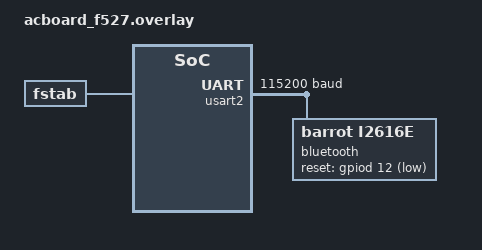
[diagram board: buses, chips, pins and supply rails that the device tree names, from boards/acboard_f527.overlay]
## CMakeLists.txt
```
# SPDX-License-Identifier: Apache-2.0

cmake_minimum_required(VERSION 3.20.0)

find_package(Zephyr REQUIRED HINTS $ENV{ZEPHYR_BASE})
project(acboard_bt_manager)

target_sources(app PRIVATE src/main.c src/bt_manager.c src/bt_app.c)
```

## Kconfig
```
# Copyright (c) 2026
# SPDX-License-Identifier: Apache-2.0

mainmenu "ACBoard Bluetooth manager"

source "Kconfig.zephyr"
```

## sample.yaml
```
sample:
  name: ACBoard Bluetooth manager
common:
  platform_allow:
    - acboard_f527
  tags:
    - bluetooth
    - settings
tests:
  sample.boards.acboard.bt_manager:
    build_only: true
```

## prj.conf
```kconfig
# i2616e BLE driver (pulls in the modem UART backend).
CONFIG_SERIAL=y
CONFIG_UART_ASYNC_API=y
CONFIG_GPIO=y
CONFIG_I2616E=y

# Paired-device persistence: Settings over LittleFS on Bank1.
CONFIG_FLASH=y
CONFIG_FLASH_MAP=y
CONFIG_FILE_SYSTEM=y
CONFIG_FILE_SYSTEM_LITTLEFS=y
CONFIG_FS_LITTLEFS_FSTAB_AUTOMOUNT=y
CONFIG_FS_LITTLEFS_CACHE_SIZE=4096
CONFIG_SETTINGS=y
CONFIG_SETTINGS_FILE=y
CONFIG_SETTINGS_FILE_PATH="/lfs/settings"

CONFIG_PRINTK=y
CONFIG_LOG=y
CONFIG_MAIN_STACK_SIZE=4096
```

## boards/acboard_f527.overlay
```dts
#include <zephyr/dt-bindings/gpio/gpio.h>
#include <zephyr/dt-bindings/dma/gd32_dma.h>

/ {
	fstab {
		compatible = "zephyr,fstab";

		lfs_storage: lfs_storage {
			compatible = "zephyr,fstab,littlefs";
			mount-point = "/lfs";
			partition = <&storage_partition>;
			automount;
			read-size = <256>;
			prog-size = <256>;
			cache-size = <4096>;
			lookahead-size = <256>;
			block-cycles = <512>;
		};
	};
};

&usart2 {
	status = "okay";
	current-speed = <115200>;
	pinctrl-0 = <&usart2_default>;
	pinctrl-names = "default";
	dmas = <&dma0 1 4 GD32_DMA_PRIORITY_HIGH 3>,
	       <&dma0 3 4 GD32_DMA_PRIORITY_HIGH 3>;
	dma-names = "rx", "tx";

	bluetooth: i2616e {
		compatible = "barrot,i2616e";
		reset-gpios = <&gpiod 12 GPIO_ACTIVE_LOW>;
	};
};

/* Bank1 (2MB) holds the LittleFS that backs the Settings device table. */
&flash0 {
	partitions {
		compatible = "fixed-partitions";
		#address-cells = <1>;
		#size-cells = <1>;

		storage_partition: partition@200000 {
			label = "storage";
			reg = <0x00200000 DT_SIZE_M(2)>;
		};
	};
};
```

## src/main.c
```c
/*
 * Copyright (c) 2026
 * SPDX-License-Identifier: Apache-2.0
 *
 * Application-layer demo over the Bluetooth manager port. It handles the
 * wallbox APP PDU protocol while the i2616e CID strings and paired-device
 * persistence stay hidden inside bt_manager.
 */

#include "bt_app.h"
#include "bt_manager.h"

#include <zephyr/device.h>
#include <zephyr/devicetree.h>
#include <zephyr/kernel.h>
#include <zephyr/sys/printk.h>

static const struct device *const bluetooth = DEVICE_DT_GET(DT_NODELABEL(bluetooth));

static void on_event(const struct bt_mgr_event *event, void *user_data)
{
	ARG_UNUSED(user_data);
	bt_app_on_event(event);
}

int main(void)
{
	int ret;

	printk("\nACBoard Bluetooth APP protocol\n");

	ret = bt_manager_init(bluetooth, on_event, NULL);
	if (ret < 0) {
		printk("bt_manager_init failed: %d\n", ret);
		return 0;
	}

	printk("bluetooth ready, %zu paired device(s)\n", bt_manager_device_count());
	return 0;
}
```

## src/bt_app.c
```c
/*
 * Copyright (c) 2026
 * SPDX-License-Identifier: Apache-2.0
 */

#include "bt_app.h"

#include <errno.h>
#include <stdbool.h>
#include <stddef.h>
#include <stdint.h>
#include <string.h>

#include <zephyr/logging/log.h>
#include <zephyr/sys/util.h>

LOG_MODULE_REGISTER(bt_app, LOG_LEVEL_INF);

#define BT_APP_START_FIELD      0xffU
#define BT_APP_NODE             0x10U
#define BT_WALLBOX_NODE         0x11U
#define BT_APP_HEADER_SIZE      4U
#define BT_APP_CHECKSUM_SIZE    1U
#define BT_APP_MAC_SIZE         6U
/* Large enough for the worst-case paired-device list response:
 * BT_MGR_MAX_DEVICES * (MAC + name-length byte + maximum name).
 */
#define BT_APP_MAX_PAYLOAD      (BT_MGR_MAX_DEVICES * (BT_APP_MAC_SIZE + 1U + BT_MGR_NAME_MAX))
#define BT_APP_MAX_FRAME        (BT_APP_HEADER_SIZE + BT_APP_MAX_PAYLOAD + BT_APP_CHECKSUM_SIZE)
#define BT_APP_AUTH_TOKEN_MIN   1U
#define BT_APP_AUTH_TOKEN_MAX   20U

#define BT_APP_CMD_AUTH_CHECK              0x02U
#define BT_APP_CMD_QUERY_PILE_STATUS       0x03U
#define BT_APP_CMD_CHARGE_CONTROL          0x04U
#define BT_APP_CMD_QUERY_PAIRED_DEVICES    0x05U
#define BT_APP_CMD_REPORT_APP_DEVICE_INFO  0x06U
#define BT_APP_CMD_DELETE_PAIRED_DEVICE    0x07U
#define BT_APP_CMD_DELETE_CURRENT_DEVICE   0x08U
#define BT_APP_CMD_PLUG_AND_CHARGE_CONTROL 0x09U

#define BT_APP_AUTH_PASSED          1U
#define BT_APP_AUTH_FAILED          2U
#define BT_APP_AUTH_DEVICE_LIMIT    4U

#define BT_APP_RESULT_UNDEFINED 0U
#define BT_APP_RESULT_SUCCESS   1U
#define BT_APP_RESULT_FAILED    2U

#define BT_APP_STATUS_IDLE                  1U
#define BT_APP_STATUS_CHARGING              2U
#define BT_APP_STATUS_CHARGE_FINISHED       3U
#define BT_APP_STATUS_PLUGGED_UNAUTHORIZED  4U

#define BT_APP_CHARGE_START 1U
#define BT_APP_CHARGE_STOP  2U

#define BT_APP_PNC_ENABLE  1U
#define BT_APP_PNC_DISABLE 2U
#define BT_APP_PNC_QUERY   3U

struct app_frame {
	uint8_t source;
	uint8_t command;
	const uint8_t *payload;
	size_t payload_len;
};

struct app_session {
	bool connected;
	bool authenticated;
	char address[BT_MGR_ADDR_TEXT + 1U];
};

static struct app_session sessions[BT_MGR_MAX_CHANNELS];
static uint8_t simulated_pile_status = BT_APP_STATUS_IDLE;

static uint8_t checksum(const uint8_t *data, size_t len)
{
	uint8_t sum = 0U;

	for (size_t i = 0; i < len; i++) {
		sum = (uint8_t)(sum + data[i]);
	}
	return sum;
}

static char lower_hex(char ch)
{
	if (ch >= 'A' && ch <= 'F') {
		return ch + ('a' - 'A');
	}
	return ch;
}

static bool address_equal(const char *a, const char *b)
{
	for (size_t i = 0; i < BT_MGR_ADDR_TEXT; i++) {
		if (lower_hex(a[i]) != lower_hex(b[i])) {
			return false;
		}
	}
	return true;
}

static int hex_nibble(uint8_t ch)
{
	if (ch >= '0' && ch <= '9') {
		return ch - '0';
	}
	if (ch >= 'A' && ch <= 'F') {
		return ch - 'A' + 10;
	}
	if (ch >= 'a' && ch <= 'f') {
		return ch - 'a' + 10;
	}
	return -EINVAL;
}

static char hex_lower(uint8_t value)
{
	value &= 0x0fU;
	return value < 10U ? (char)('0' + value) : (char)('a' + value - 10U);
}

static bool address_to_mac(const char *address, uint8_t *mac)
{
	for (size_t i = 0; i < BT_APP_MAC_SIZE; i++) {
		int hi = hex_nibble((uint8_t)address[i * 2U]);
		int lo = hex_nibble((uint8_t)address[(i * 2U) + 1U]);

		if (hi < 0 || lo < 0) {
			return false;
		}
		mac[i] = (uint8_t)((hi << 4) | lo);
	}
	return true;
}

static void mac_to_address(const uint8_t *mac, char *address)
{
	for (size_t i = 0; i < BT_APP_MAC_SIZE; i++) {
		address[i * 2U] = hex_lower(mac[i] >> 4);
		address[(i * 2U) + 1U] = hex_lower(mac[i]);
	}
	address[BT_MGR_ADDR_TEXT] = '\0';
}

static struct app_session *session_for(uint8_t channel)
{
	if (channel >= BT_MGR_MAX_CHANNELS) {
		return NULL;
	}
	return &sessions[channel];
}

static void revoke_sessions_by_address(const char *address)
{
	for (uint8_t i = 0; i < BT_MGR_MAX_CHANNELS; i++) {
		if (sessions[i].connected && sessions[i].authenticated &&
		    address_equal(sessions[i].address, address)) {
			sessions[i].authenticated = false;
			memset(sessions[i].address, 0, sizeof(sessions[i].address));
		}
	}
}

static bool find_frame(const uint8_t *data, size_t len, size_t *offset, size_t *frame_len)
{
	for (size_t i = 0; i + BT_APP_HEADER_SIZE + BT_APP_CHECKSUM_SIZE <= len; i++) {
		if (data[i] != BT_APP_START_FIELD) {
			continue;
		}

		size_t payload_len = data[i + 3U];
		size_t total = BT_APP_HEADER_SIZE + payload_len + BT_APP_CHECKSUM_SIZE;

		if (payload_len > BT_APP_MAX_PAYLOAD) {
			continue;
		}
		if (i + total > len) {
			return false;
		}
		if (data[i + total - 1U] != checksum(&data[i], BT_APP_HEADER_SIZE + payload_len)) {
			continue;
		}

		*offset = i;
		*frame_len = total;
		return true;
	}

	return false;
}

static bool decode_frame(const uint8_t *data, size_t len, struct app_frame *frame)
{
	if (data == NULL || frame == NULL || len < BT_APP_HEADER_SIZE + BT_APP_CHECKSUM_SIZE ||
	    data[0] != BT_APP_START_FIELD) {
		return false;
	}

	size_t payload_len = data[3];
	size_t total = BT_APP_HEADER_SIZE + payload_len + BT_APP_CHECKSUM_SIZE;

	if (payload_len > BT_APP_MAX_PAYLOAD || total > len ||
	    data[total - 1U] != checksum(data, BT_APP_HEADER_SIZE + payload_len)) {
		return false;
	}

	frame->source = data[1];
	frame->command = data[2];
	frame->payload = payload_len > 0U ? &data[BT_APP_HEADER_SIZE] : NULL;
	frame->payload_len = payload_len;
	return true;
}

static int send_response(uint8_t channel, uint8_t command, const uint8_t *payload, size_t payload_len)
{
	uint8_t frame[BT_APP_MAX_FRAME];
	size_t frame_len;

	if (payload_len > BT_APP_MAX_PAYLOAD || (payload == NULL && payload_len > 0U)) {
		return -EINVAL;
	}

	frame[0] = BT_APP_START_FIELD;
	frame[1] = BT_WALLBOX_NODE;
	frame[2] = command;
	frame[3] = (uint8_t)payload_len;
	if (payload_len > 0U) {
		memcpy(&frame[BT_APP_HEADER_SIZE], payload, payload_len);
	}

	frame_len = BT_APP_HEADER_SIZE + payload_len + BT_APP_CHECKSUM_SIZE;
	frame[frame_len - 1U] = checksum(frame, BT_APP_HEADER_SIZE + payload_len);

	return bt_manager_send(channel, frame, frame_len);
}

static void handle_auth_check(uint8_t channel, const struct app_frame *frame)
{
	static const uint8_t serial[12] = "ACBOARD00001";
	uint8_t payload[1U + sizeof(serial)] = { BT_APP_AUTH_FAILED };
	size_t payload_len = 1U;
	struct app_session *session = session_for(channel);

	if (session != NULL && session->authenticated && frame->payload != NULL &&
	    frame->payload_len >= BT_APP_AUTH_TOKEN_MIN &&
	    frame->payload_len <= BT_APP_AUTH_TOKEN_MAX) {
		bool known = bt_manager_has_device(session->address);
		bool full = bt_manager_device_count() >= BT_MGR_MAX_DEVICES;

		if (!known && full) {
			payload[0] = BT_APP_AUTH_DEVICE_LIMIT;
		} else {
			payload[0] = BT_APP_AUTH_PASSED;
			memcpy(&payload[1], serial, sizeof(serial));
			payload_len = sizeof(payload);
		}
	}

	LOG_INF("auth check channel=%u result=%u", channel, payload[0]);
	(void)send_response(channel, frame->command, payload, payload_len);
}

static void handle_query_pile_status(uint8_t channel, const struct app_frame *frame)
{
	ARG_UNUSED(frame);

	LOG_INF("pile status query channel=%u status=%u", channel, simulated_pile_status);
	(void)send_response(channel, BT_APP_CMD_QUERY_PILE_STATUS, &simulated_pile_status,
			    sizeof(simulated_pile_status));
}

static void handle_charge_control(uint8_t channel, const struct app_frame *frame)
{
	uint8_t result = BT_APP_RESULT_FAILED;
	struct app_session *session = session_for(channel);

	if (session != NULL && session->authenticated && frame->payload != NULL &&
	    frame->payload_len == 1U) {
		if (frame->payload[0] == BT_APP_CHARGE_START) {
			simulated_pile_status = BT_APP_STATUS_CHARGING;
			result = BT_APP_RESULT_SUCCESS;
		} else if (frame->payload[0] == BT_APP_CHARGE_STOP) {
			simulated_pile_status = BT_APP_STATUS_CHARGE_FINISHED;
			result = BT_APP_RESULT_SUCCESS;
		}
	}

	LOG_INF("charge control channel=%u result=%u", channel, result);
	(void)send_response(channel, frame->command, &result, sizeof(result));
}

static void handle_query_paired_devices(uint8_t channel, const struct app_frame *frame)
{
	ARG_UNUSED(frame);

	struct app_session *session = session_for(channel);
	struct bt_mgr_device devices[BT_MGR_MAX_DEVICES];
	uint8_t payload[BT_APP_MAX_PAYLOAD];
	size_t count = 0U;
	size_t payload_len = 0U;

	if (session == NULL || !session->authenticated) {
		LOG_WRN("paired devices query from unauthenticated channel=%u", channel);
		return;
	}

	(void)bt_manager_get_devices(devices, BT_MGR_MAX_DEVICES, &count);

	for (size_t i = 0; i < count && i < BT_MGR_MAX_DEVICES; i++) {
		uint8_t mac[BT_APP_MAC_SIZE];
		size_t name_len = devices[i].name_len;

		if (payload_len + BT_APP_MAC_SIZE + 1U + name_len > sizeof(payload)) {
			break;
		}
		if (!address_to_mac(devices[i].address, mac)) {
			continue;
		}

		memcpy(&payload[payload_len], mac, sizeof(mac));
		payload_len += sizeof(mac);
		payload[payload_len++] = (uint8_t)name_len;
		memcpy(&payload[payload_len], devices[i].name, name_len);
		payload_len += name_len;
	}

	LOG_INF("paired devices query channel=%u len=%zu", channel, payload_len);
	(void)send_response(channel, BT_APP_CMD_QUERY_PAIRED_DEVICES, payload, payload_len);
}

static void handle_report_app_device_info(uint8_t channel, const struct app_frame *frame)
{
	uint8_t result = BT_APP_RESULT_FAILED;
	struct app_session *session = session_for(channel);

	if (session != NULL && session->authenticated && frame->payload != NULL &&
	    frame->payload_len > 0U && frame->payload_len <= BT_MGR_NAME_MAX) {
		bool known = bt_manager_has_device(session->address);
		bool full = bt_manager_device_count() >= BT_MGR_MAX_DEVICES;

		if ((known || !full) &&
		    bt_manager_update_device(session->address, frame->payload, frame->payload_len) == 0) {
			result = BT_APP_RESULT_SUCCESS;
		}
	}

	LOG_INF("app device info channel=%u result=%u", channel, result);
	(void)send_response(channel, frame->command, &result, sizeof(result));
}

static void handle_delete_paired_device(uint8_t channel, const struct app_frame *frame)
{
	uint8_t result = BT_APP_RESULT_FAILED;
	struct app_session *session = session_for(channel);
	char address[BT_MGR_ADDR_TEXT + 1U];

	if (session != NULL && session->authenticated && frame->payload != NULL &&
	    frame->payload_len == BT_APP_MAC_SIZE) {
		mac_to_address(frame->payload, address);
		if (bt_manager_forget(address) == 0) {
			revoke_sessions_by_address(address);
			result = BT_APP_RESULT_SUCCESS;
		}
	}

	LOG_INF("delete paired device channel=%u result=%u", channel, result);
	(void)send_response(channel, frame->command, &result, sizeof(result));
}

static void handle_delete_current_device(uint8_t channel, const struct app_frame *frame)
{
	uint8_t result = BT_APP_RESULT_FAILED;
	struct app_session *session = session_for(channel);
	char address[BT_MGR_ADDR_TEXT + 1U];

	ARG_UNUSED(frame);

	if (session != NULL && session->authenticated) {
		strncpy(address, session->address, sizeof(address));
		if (bt_manager_forget(address) == 0) {
			revoke_sessions_by_address(address);
			result = BT_APP_RESULT_SUCCESS;
		}
	}

	LOG_INF("delete current device channel=%u result=%u", channel, result);
	(void)send_response(channel, BT_APP_CMD_DELETE_CURRENT_DEVICE, &result, sizeof(result));
}

static void handle_plug_and_charge_control(uint8_t channel, const struct app_frame *frame)
{
	uint8_t result = BT_APP_RESULT_UNDEFINED;
	struct app_session *session = session_for(channel);
	uint8_t op = frame->payload != NULL && frame->payload_len == 1U ? frame->payload[0] : 0U;

	if (session != NULL && session->authenticated && frame->payload != NULL &&
	    frame->payload_len == 1U && bt_manager_has_device(session->address)) {
		bool enabled = false;

		switch (frame->payload[0]) {
		case BT_APP_PNC_ENABLE:
			if (bt_manager_set_plug_and_charge(session->address, true) == 0) {
				result = BT_APP_PNC_ENABLE;
			}
			break;
		case BT_APP_PNC_DISABLE:
			if (bt_manager_set_plug_and_charge(session->address, false) == 0) {
				result = BT_APP_PNC_DISABLE;
			}
			break;
		case BT_APP_PNC_QUERY:
			if (bt_manager_get_plug_and_charge(session->address, &enabled) == 0) {
				result = enabled ? BT_APP_PNC_ENABLE : BT_APP_PNC_DISABLE;
			}
			break;
		default:
			break;
		}
	}

	LOG_INF("plug-and-charge channel=%u op=%u result=%u", channel, op, result);
	(void)send_response(channel, frame->command, &result, sizeof(result));
}

static void dispatch_frame(uint8_t channel, const struct app_frame *frame)
{
	if (frame->source != BT_APP_NODE) {
		LOG_WRN("unexpected source node 0x%02x", frame->source);
		return;
	}

	switch (frame->command) {
	case BT_APP_CMD_AUTH_CHECK:
		handle_auth_check(channel, frame);
		break;
	case BT_APP_CMD_QUERY_PILE_STATUS:
		handle_query_pile_status(channel, frame);
		break;
	case BT_APP_CMD_CHARGE_CONTROL:
		handle_charge_control(channel, frame);
		break;
	case BT_APP_CMD_QUERY_PAIRED_DEVICES:
		handle_query_paired_devices(channel, frame);
		break;
	case BT_APP_CMD_REPORT_APP_DEVICE_INFO:
		handle_report_app_device_info(channel, frame);
		break;
	case BT_APP_CMD_DELETE_PAIRED_DEVICE:
		handle_delete_paired_device(channel, frame);
		break;
	case BT_APP_CMD_DELETE_CURRENT_DEVICE:
		handle_delete_current_device(channel, frame);
		break;
	case BT_APP_CMD_PLUG_AND_CHARGE_CONTROL:
		handle_plug_and_charge_control(channel, frame);
		break;
	default:
		LOG_WRN("unsupported app command 0x%02x", frame->command);
		break;
	}
}

static void handle_data(uint8_t channel, const uint8_t *data, size_t len)
{
	size_t offset = 0U;
	size_t frame_len = 0U;
	struct app_frame frame;

	if (!find_frame(data, len, &offset, &frame_len) ||
	    !decode_frame(&data[offset], frame_len, &frame)) {
		LOG_WRN("invalid app frame channel=%u len=%zu", channel, len);
		return;
	}

	LOG_INF("app frame channel=%u cmd=0x%02x payload=%zu", channel, frame.command,
		frame.payload_len);
	dispatch_frame(channel, &frame);
}

void bt_app_on_event(const struct bt_mgr_event *event)
{
	struct app_session *session;

	if (event == NULL) {
		return;
	}

	session = session_for(event->channel);
	if (session == NULL) {
		return;
	}

	switch (event->type) {
	case BT_MGR_EVENT_CONNECTED:
		memset(session, 0, sizeof(*session));
		session->connected = true;
		LOG_INF("connected channel=%u", event->channel);
		break;
	case BT_MGR_EVENT_AUTHENTICATED:
		session->connected = true;
		session->authenticated = true;
		strncpy(session->address, event->address, BT_MGR_ADDR_TEXT);
		LOG_INF("authenticated channel=%u addr=%s", event->channel, session->address);
		break;
	case BT_MGR_EVENT_DISCONNECTED:
		memset(session, 0, sizeof(*session));
		LOG_INF("disconnected channel=%u", event->channel);
		break;
	case BT_MGR_EVENT_DATA:
		handle_data(event->channel, event->data, event->length);
		break;
	default:
		break;
	}
}
```

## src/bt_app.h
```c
/*
 * Copyright (c) 2026
 * SPDX-License-Identifier: Apache-2.0
 */

#ifndef ACBOARD_BT_APP_H_
#define ACBOARD_BT_APP_H_

#include "bt_manager.h"

#ifdef __cplusplus
extern "C" {
#endif

void bt_app_on_event(const struct bt_mgr_event *event);

#ifdef __cplusplus
}
#endif

#endif /* ACBOARD_BT_APP_H_ */
```

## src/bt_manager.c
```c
/*
 * Copyright (c) 2026
 * SPDX-License-Identifier: Apache-2.0
 */

#include "bt_manager.h"

#include <errno.h>
#include <stdio.h>
#include <stdlib.h>
#include <string.h>

#include <zephyr/drivers/misc/i2616e/i2616e.h>
#include <zephyr/kernel.h>
#include <zephyr/logging/log.h>
#include <zephyr/settings/settings.h>

LOG_MODULE_REGISTER(bt_manager, LOG_LEVEL_INF);

#define BT_MGR_STACK_SIZE 2048
#define BT_MGR_PRIORITY   5

/* Persisted paired-device record. The version byte lets fields grow later. */
struct bt_device {
	uint8_t version;
	uint8_t pnc;				/* plug-and-charge enabled */
	char address[BT_MGR_ADDR_TEXT + 1U];
	char name[BT_MGR_NAME_MAX + 1U];
};

#define BT_DEVICE_VERSION 1U

/* Runtime mapping of a module CID to a logical channel. */
struct bt_channel {
	bool in_use;
	bool authenticated;
	char cid[I2616E_CID_TEXT_SIZE + 1U];
	char address[BT_MGR_ADDR_TEXT + 1U];
};

static struct {
	const struct device *dev;
	bt_mgr_callback_t cb;
	void *user_data;
	struct k_mutex lock;
	struct bt_channel channels[BT_MGR_MAX_CHANNELS];
	struct bt_device devices[BT_MGR_MAX_DEVICES];
	bool device_used[BT_MGR_MAX_DEVICES];
} ctx;

K_THREAD_STACK_DEFINE(bt_mgr_stack, BT_MGR_STACK_SIZE);
static struct k_thread bt_mgr_thread_data;

/* ------------------------------------------------------------------------- */
/* Paired-device table (Settings cfg/bt subtree)                             */
/* ------------------------------------------------------------------------- */

static size_t bounded_strlen(const char *str, size_t max_len);

static int bt_dev_set(const char *key, size_t len, settings_read_cb read_cb, void *cb_arg)
{
	const char *next;

	if (settings_name_steq(key, "dev", &next) && next != NULL) {
		long idx = strtol(next, NULL, 10);

		if (idx < 0 || idx >= (long)BT_MGR_MAX_DEVICES) {
			return -EINVAL;
		}
		/* Tolerate incompatible records (old layout or foreign data):
		 * skip them gracefully; the slot is reused on the next save.
		 */
		if (len != sizeof(struct bt_device)) {
			LOG_WRN("ignoring incompatible record %s (len %zu)", key, len);
			return 0;
		}
		if (read_cb(cb_arg, &ctx.devices[idx], sizeof(struct bt_device)) < 0) {
			return -EIO;
		}
		ctx.device_used[idx] = true;
		LOG_INF("loaded device slot %ld addr=%s pnc=%u name_len=%zu", idx,
			ctx.devices[idx].address, ctx.devices[idx].pnc,
			bounded_strlen(ctx.devices[idx].name, BT_MGR_NAME_MAX));
		return 0;
	}

	return -ENOENT;
}

static int bt_dev_export(int (*cb)(const char *name, const void *val, size_t val_len))
{
	char name[24];

	for (uint8_t i = 0; i < BT_MGR_MAX_DEVICES; i++) {
		if (ctx.device_used[i]) {
			(void)snprintf(name, sizeof(name), "cfg/bt/dev/%u", i);
			(void)cb(name, &ctx.devices[i], sizeof(ctx.devices[i]));
		}
	}

	return 0;
}

SETTINGS_STATIC_HANDLER_DEFINE(cfg_bt, "cfg/bt", NULL, bt_dev_set, NULL, bt_dev_export);

static size_t bounded_strlen(const char *str, size_t max_len)
{
	size_t len = 0;

	while (len < max_len && str[len] != '\0') {
		len++;
	}
	return len;
}

static bool valid_address(const char *address)
{
	return address != NULL && bounded_strlen(address, BT_MGR_ADDR_TEXT + 1U) == BT_MGR_ADDR_TEXT;
}

static char lower_hex(char ch)
{
	if (ch >= 'A' && ch <= 'F') {
		return ch + ('a' - 'A');
	}
	return ch;
}

static bool address_equal(const char *a, const char *b)
{
	for (size_t i = 0; i < BT_MGR_ADDR_TEXT; i++) {
		if (lower_hex(a[i]) != lower_hex(b[i])) {
			return false;
		}
	}
	return true;
}

static int devstore_save(uint8_t slot)
{
	char key[24];

	(void)snprintf(key, sizeof(key), "cfg/bt/dev/%u", slot);
	return settings_save_one(key, &ctx.devices[slot], sizeof(ctx.devices[slot]));
}

/* Caller must hold ctx.lock. */
static int devstore_find(const char *address)
{
	for (uint8_t i = 0; i < BT_MGR_MAX_DEVICES; i++) {
		if (ctx.device_used[i] && address_equal(ctx.devices[i].address, address)) {
			return i;
		}
	}
	return -1;
}

static size_t devstore_count(void)
{
	size_t count = 0;

	for (uint8_t i = 0; i < BT_MGR_MAX_DEVICES; i++) {
		count += ctx.device_used[i] ? 1U : 0U;
	}
	return count;
}

static void devstore_copy(uint8_t slot, struct bt_mgr_device *out)
{
	memset(out, 0, sizeof(*out));
	strncpy(out->address, ctx.devices[slot].address, BT_MGR_ADDR_TEXT);
	strncpy(out->name, ctx.devices[slot].name, BT_MGR_NAME_MAX);
	out->name_len = bounded_strlen(ctx.devices[slot].name, BT_MGR_NAME_MAX);
	out->plug_and_charge = ctx.devices[slot].pnc != 0U;
}

/* Add a newly authenticated device if there is room. Caller holds ctx.lock. */
static int devstore_add(const char *address)
{
	int slot = -1;
	int ret;

	for (uint8_t i = 0; i < BT_MGR_MAX_DEVICES; i++) {
		if (!ctx.device_used[i]) {
			slot = i;
			break;
		}
	}
	if (slot < 0) {
		LOG_WRN("device table full, not recording %s", address);
		return -ENOSPC;
	}

	memset(&ctx.devices[slot], 0, sizeof(ctx.devices[slot]));
	ctx.devices[slot].version = BT_DEVICE_VERSION;
	strncpy(ctx.devices[slot].address, address, BT_MGR_ADDR_TEXT);
	ctx.device_used[slot] = true;

	ret = devstore_save(slot);
	if (ret < 0) {
		LOG_ERR("failed to persist device %s in slot %d: %d", address, slot, ret);
		memset(&ctx.devices[slot], 0, sizeof(ctx.devices[slot]));
		ctx.device_used[slot] = false;
		return ret;
	}
	LOG_INF("recorded device %s in slot %d", address, slot);
	return slot;
}

/* ------------------------------------------------------------------------- */
/* Channel mapping                                                           */
/* ------------------------------------------------------------------------- */

/* Caller must hold ctx.lock. */
static struct bt_channel *channel_find(const char *cid)
{
	for (uint8_t i = 0; i < BT_MGR_MAX_CHANNELS; i++) {
		if (ctx.channels[i].in_use && strcmp(ctx.channels[i].cid, cid) == 0) {
			return &ctx.channels[i];
		}
	}
	return NULL;
}

static struct bt_channel *channel_alloc(const char *cid, uint8_t *index)
{
	struct bt_channel *ch = channel_find(cid);

	if (ch != NULL) {
		*index = ch - ctx.channels;
		return ch;
	}

	for (uint8_t i = 0; i < BT_MGR_MAX_CHANNELS; i++) {
		if (!ctx.channels[i].in_use) {
			ch = &ctx.channels[i];
			memset(ch, 0, sizeof(*ch));
			ch->in_use = true;
			strncpy(ch->cid, cid, I2616E_CID_TEXT_SIZE);
			*index = i;
			return ch;
		}
	}

	LOG_WRN("no free channel for cid %s", cid);
	return NULL;
}

/* ------------------------------------------------------------------------- */
/* Event dispatch                                                            */
/* ------------------------------------------------------------------------- */

static void emit(enum bt_mgr_event_type type, uint8_t channel, const char *address,
		 const uint8_t *data, size_t length)
{
	struct bt_mgr_event ev = {
		.type = type,
		.channel = channel,
		.data = data,
		.length = length,
	};

	if (address != NULL) {
		strncpy(ev.address, address, BT_MGR_ADDR_TEXT);
	}
	if (ctx.cb != NULL) {
		ctx.cb(&ev, ctx.user_data);
	}
}

static void handle_connected(const struct i2616e_event *event)
{
	uint8_t index;

	k_mutex_lock(&ctx.lock, K_FOREVER);
	struct bt_channel *ch = channel_alloc(event->cid, &index);

	k_mutex_unlock(&ctx.lock);

	if (ch != NULL) {
		LOG_INF("connected cid=%s -> channel %u", event->cid, index);
		emit(BT_MGR_EVENT_CONNECTED, index, NULL, NULL, 0);
	}
}

static void handle_pair_request(const struct i2616e_event *event)
{
	size_t count;

	k_mutex_lock(&ctx.lock, K_FOREVER);
	count = devstore_count();
	k_mutex_unlock(&ctx.lock);

	/* Bring-up policy: accept while there is room, otherwise let the peer
	 * pair at the link layer but it will not be recorded as authorised.
	 */
	bool accept = (count < BT_MGR_MAX_DEVICES);

	LOG_INF("pair request cid=%s -> %s (paired %zu/%u)", event->cid,
		accept ? "accept" : "reject", count, BT_MGR_MAX_DEVICES);
	(void)i2616e_pair_confirm(ctx.dev, event->cid, accept);
}

static void handle_authenticated(const struct i2616e_event *event)
{
	uint8_t index = 0;
	bool mapped = false;
	bool added = false;

	k_mutex_lock(&ctx.lock, K_FOREVER);
	struct bt_channel *ch = channel_alloc(event->cid, &index);

	if (ch != NULL) {
		ch->authenticated = true;
		strncpy(ch->address, event->address, BT_MGR_ADDR_TEXT);
		mapped = true;
	}

	/* The peer is link-layer authenticated (e.g. via PIN). A new device is
	 * recorded and whitelisted only if the table has room; when it is full
	 * the device still connects but is not persisted, leaving the "list
	 * full, delete one" decision to the APP layer.
	 */
	if (devstore_find(event->address) < 0) {
		added = (devstore_add(event->address) >= 0);
	}
	k_mutex_unlock(&ctx.lock);

	/* Mirror a new authorisation into the module whitelist outside the lock
	 * (it issues a blocking AT command).
	 */
	if (added) {
		(void)i2616e_whitelist_add_address(ctx.dev, event->address);
	}
	if (mapped) {
		LOG_INF("authenticated channel %u addr=%s", index, event->address);
		emit(BT_MGR_EVENT_AUTHENTICATED, index, event->address, NULL, 0);
	}
}

static void handle_disconnected(const struct i2616e_event *event)
{
	uint8_t index = 0;
	bool found = false;

	k_mutex_lock(&ctx.lock, K_FOREVER);
	struct bt_channel *ch = channel_find(event->cid);

	if (ch != NULL) {
		index = ch - ctx.channels;
		found = true;
		memset(ch, 0, sizeof(*ch));
	}
	k_mutex_unlock(&ctx.lock);

	if (found) {
		LOG_INF("disconnected channel %u", index);
		emit(BT_MGR_EVENT_DISCONNECTED, index, NULL, NULL, 0);
	}
}

static void handle_data(const struct i2616e_event *event)
{
	uint8_t index = 0;
	bool found = false;

	k_mutex_lock(&ctx.lock, K_FOREVER);
	struct bt_channel *ch = channel_find(event->cid);

	if (ch != NULL) {
		index = ch - ctx.channels;
		found = true;
	}
	k_mutex_unlock(&ctx.lock);

	if (found) {
		emit(BT_MGR_EVENT_DATA, index, NULL, event->data, event->length);
	}
}

static void bt_mgr_thread_fn(void *p1, void *p2, void *p3)
{
	static struct i2616e_event event;

	ARG_UNUSED(p1);
	ARG_UNUSED(p2);
	ARG_UNUSED(p3);

	while (true) {
		if (i2616e_get_event(ctx.dev, &event, K_FOREVER) < 0) {
			continue;
		}

		switch (event.type) {
		case I2616E_EVENT_CONNECTED:
			handle_connected(&event);
			break;
		case I2616E_EVENT_PAIR_REQUEST:
			handle_pair_request(&event);
			break;
		case I2616E_EVENT_PASSKEY_DISPLAY:
			LOG_INF("passkey for cid=%s: %06u", event.cid, event.passkey);
			break;
		case I2616E_EVENT_PAIRED:
			handle_authenticated(&event);
			break;
		case I2616E_EVENT_DISCONNECTED:
			handle_disconnected(&event);
			break;
		case I2616E_EVENT_DATA_RECEIVED:
			handle_data(&event);
			break;
		case I2616E_EVENT_READY:
			LOG_WRN("module restarted unexpectedly");
			break;
		default:
			break;
		}
	}
}

/* ------------------------------------------------------------------------- */
/* Public API                                                                */
/* ------------------------------------------------------------------------- */

int bt_manager_send(uint8_t channel, const uint8_t *data, size_t length)
{
	char cid[I2616E_CID_TEXT_SIZE + 1U];

	if (channel >= BT_MGR_MAX_CHANNELS) {
		return -EINVAL;
	}

	k_mutex_lock(&ctx.lock, K_FOREVER);
	if (!ctx.channels[channel].in_use) {
		k_mutex_unlock(&ctx.lock);
		return -ENOTCONN;
	}
	strcpy(cid, ctx.channels[channel].cid);
	k_mutex_unlock(&ctx.lock);

	return i2616e_send(ctx.dev, cid, data, length);
}

size_t bt_manager_device_count(void)
{
	size_t count;

	k_mutex_lock(&ctx.lock, K_FOREVER);
	count = devstore_count();
	k_mutex_unlock(&ctx.lock);
	return count;
}

bool bt_manager_has_device(const char *address)
{
	bool found;

	if (!valid_address(address)) {
		return false;
	}

	k_mutex_lock(&ctx.lock, K_FOREVER);
	found = devstore_find(address) >= 0;
	k_mutex_unlock(&ctx.lock);
	return found;
}

int bt_manager_get_devices(struct bt_mgr_device *devices, size_t capacity, size_t *count)
{
	size_t total = 0;
	size_t copied = 0;

	if (count == NULL || (devices == NULL && capacity > 0U)) {
		return -EINVAL;
	}

	k_mutex_lock(&ctx.lock, K_FOREVER);
	for (uint8_t i = 0; i < BT_MGR_MAX_DEVICES; i++) {
		if (!ctx.device_used[i]) {
			continue;
		}
		if (copied < capacity) {
			devstore_copy(i, &devices[copied]);
			copied++;
		}
		total++;
	}
	k_mutex_unlock(&ctx.lock);

	*count = total;
	return copied == total ? 0 : -ENOMEM;
}

int bt_manager_update_device(const char *address, const uint8_t *name, size_t name_len)
{
	int slot;
	bool was_used;
	struct bt_device previous;
	int ret;

	if (!valid_address(address) || (name == NULL && name_len > 0U) || name_len > BT_MGR_NAME_MAX) {
		return -EINVAL;
	}

	k_mutex_lock(&ctx.lock, K_FOREVER);
	slot = devstore_find(address);
	if (slot < 0) {
		for (uint8_t i = 0; i < BT_MGR_MAX_DEVICES; i++) {
			if (!ctx.device_used[i]) {
				slot = i;
				break;
			}
		}
	}
	if (slot < 0) {
		k_mutex_unlock(&ctx.lock);
		return -ENOSPC;
	}

	was_used = ctx.device_used[slot];
	previous = ctx.devices[slot];
	if (!was_used) {
		memset(&ctx.devices[slot], 0, sizeof(ctx.devices[slot]));
		ctx.devices[slot].version = BT_DEVICE_VERSION;
		strncpy(ctx.devices[slot].address, address, BT_MGR_ADDR_TEXT);
		ctx.device_used[slot] = true;
	}
	memset(ctx.devices[slot].name, 0, sizeof(ctx.devices[slot].name));
	if (name_len > 0U) {
		memcpy(ctx.devices[slot].name, name, name_len);
	}
	ret = devstore_save((uint8_t)slot);
	if (ret < 0) {
		LOG_ERR("failed to persist device info addr=%s slot=%d: %d", address, slot, ret);
		ctx.devices[slot] = previous;
		ctx.device_used[slot] = was_used;
	}
	k_mutex_unlock(&ctx.lock);

	if (ret < 0) {
		return ret;
	}
	if (!was_used) {
		(void)i2616e_whitelist_add_address(ctx.dev, address);
	}
	LOG_INF("saved device info addr=%s slot=%d name_len=%zu", address, slot, name_len);
	return 0;
}

int bt_manager_get_plug_and_charge(const char *address, bool *enabled)
{
	int slot;

	if (!valid_address(address) || enabled == NULL) {
		return -EINVAL;
	}

	k_mutex_lock(&ctx.lock, K_FOREVER);
	slot = devstore_find(address);
	if (slot >= 0) {
		*enabled = ctx.devices[slot].pnc != 0U;
	}
	k_mutex_unlock(&ctx.lock);

	return slot >= 0 ? 0 : -ENOENT;
}

int bt_manager_set_plug_and_charge(const char *address, bool enabled)
{
	int slot;
	uint8_t previous;
	int ret = 0;

	if (!valid_address(address)) {
		return -EINVAL;
	}

	k_mutex_lock(&ctx.lock, K_FOREVER);
	slot = devstore_find(address);
	if (slot >= 0) {
		previous = ctx.devices[slot].pnc;
		ctx.devices[slot].pnc = enabled ? 1U : 0U;
		ret = devstore_save((uint8_t)slot);
		if (ret < 0) {
			LOG_ERR("failed to persist pnc addr=%s slot=%d: %d", address, slot, ret);
			ctx.devices[slot].pnc = previous;
		}
	}
	k_mutex_unlock(&ctx.lock);

	if (slot < 0) {
		return -ENOENT;
	}
	if (ret == 0) {
		LOG_INF("saved pnc addr=%s enabled=%u", address, enabled ? 1U : 0U);
	}
	return ret;
}

int bt_manager_forget(const char *address)
{
	char key[24];
	int slot;

	if (address == NULL) {
		return -EINVAL;
	}

	k_mutex_lock(&ctx.lock, K_FOREVER);
	slot = devstore_find(address);
	if (slot >= 0) {
		ctx.device_used[slot] = false;
		memset(&ctx.devices[slot], 0, sizeof(ctx.devices[slot]));
	}
	k_mutex_unlock(&ctx.lock);

	if (slot < 0) {
		return -ENOENT;
	}

	(void)snprintf(key, sizeof(key), "cfg/bt/dev/%d", slot);
	(void)settings_delete(key);
	(void)i2616e_whitelist_remove_address(ctx.dev, address);
	LOG_INF("forgot device %s (slot %d)", address, slot);
	return 0;
}

int bt_manager_init(const struct device *i2616e, bt_mgr_callback_t cb, void *user_data)
{
	const struct i2616e_settings settings = {
		.name = "ID. UNYX Pro AC999",
		.bluetooth_mode = 0U,
		.silent = false,
		.command_mode = true,
		.multi_connection = true,
		.auto_unlock = true,
		.advertising = true,
	};
	int ret;

	if (i2616e == NULL || !device_is_ready(i2616e)) {
		return -ENODEV;
	}

	ctx.dev = i2616e;
	ctx.cb = cb;
	ctx.user_data = user_data;
	k_mutex_init(&ctx.lock);

	/* Restore the paired-device table from flash. */
	ret = settings_subsys_init();
	if (ret < 0) {
		LOG_ERR("settings_subsys_init: %d", ret);
		return ret;
	}
	(void)settings_load_subtree("cfg/bt");

	/* Bring the module up and apply the bring-up configuration. */
	ret = i2616e_hardware_reset(i2616e);
	if (ret < 0) {
		LOG_ERR("module reset: %d", ret);
		return ret;
	}
	ret = i2616e_apply_settings(i2616e, &settings);
	if (ret < 0) {
		LOG_ERR("apply settings: %d", ret);
		return ret;
	}

	/* Push the stored authorisations into the module whitelist. */
	for (uint8_t i = 0; i < BT_MGR_MAX_DEVICES; i++) {
		if (ctx.device_used[i]) {
			(void)i2616e_whitelist_add_address(i2616e, ctx.devices[i].address);
		}
	}

	LOG_INF("bluetooth up, %zu paired device(s)", devstore_count());

	k_thread_create(&bt_mgr_thread_data, bt_mgr_stack, K_THREAD_STACK_SIZEOF(bt_mgr_stack),
			bt_mgr_thread_fn, NULL, NULL, NULL, BT_MGR_PRIORITY, 0, K_NO_WAIT);
	k_thread_name_set(&bt_mgr_thread_data, "bt_manager");

	return 0;
}
```

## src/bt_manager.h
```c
/*
 * Copyright (c) 2026
 * SPDX-License-Identifier: Apache-2.0
 *
 * Bluetooth manager: a thin port over the i2616e BLE driver that maps module
 * connection ids (CIDs) to small logical channel numbers, normalises module
 * events, enforces the paired-device policy, and persists the paired-device
 * table through the Settings subsystem under cfg/bt. The application layer
 * (APP PDU protocol) talks to this port by channel number and never sees the
 * i2616e CID strings.
 */

#ifndef ACBOARD_BT_MANAGER_H_
#define ACBOARD_BT_MANAGER_H_

#include <stddef.h>
#include <stdint.h>
#include <stdbool.h>

#include <zephyr/device.h>

#ifdef __cplusplus
extern "C" {
#endif

#define BT_MGR_MAX_CHANNELS 3U
#define BT_MGR_MAX_DEVICES  3U
#define BT_MGR_ADDR_TEXT    12U
#define BT_MGR_NAME_MAX     29U

enum bt_mgr_event_type {
	BT_MGR_EVENT_CONNECTED,
	BT_MGR_EVENT_AUTHENTICATED,
	BT_MGR_EVENT_DISCONNECTED,
	BT_MGR_EVENT_DATA,
};

struct bt_mgr_event {
	enum bt_mgr_event_type type;
	uint8_t channel;
	char address[BT_MGR_ADDR_TEXT + 1U];	/* valid for AUTHENTICATED */
	const uint8_t *data;			/* valid for DATA */
	size_t length;
};

typedef void (*bt_mgr_callback_t)(const struct bt_mgr_event *event, void *user_data);

struct bt_mgr_device {
	char address[BT_MGR_ADDR_TEXT + 1U];
	char name[BT_MGR_NAME_MAX + 1U];
	uint8_t name_len;
	bool plug_and_charge;
};

/**
 * @brief Bring up Bluetooth: load the paired-device table, reset and configure
 *        the i2616e module, sync the whitelist, and start event processing.
 */
int bt_manager_init(const struct device *i2616e, bt_mgr_callback_t cb, void *user_data);

/** Send a PDU to a connected channel. */
int bt_manager_send(uint8_t channel, const uint8_t *data, size_t length);

/** Number of currently stored paired devices. */
size_t bt_manager_device_count(void);

/** Query whether a paired device is stored locally. */
bool bt_manager_has_device(const char *address);

/** Copy the paired-device table into @p devices and return the total count. */
int bt_manager_get_devices(struct bt_mgr_device *devices, size_t capacity, size_t *count);

/** Add or update APP-owned metadata for a paired device. */
int bt_manager_update_device(const char *address, const uint8_t *name, size_t name_len);

/** Get or set the per-device plug-and-charge flag. */
int bt_manager_get_plug_and_charge(const char *address, bool *enabled);
int bt_manager_set_plug_and_charge(const char *address, bool enabled);

/** Remove a paired device: drop it from the module whitelist and the table. */
int bt_manager_forget(const char *address);

#ifdef __cplusplus
}
#endif

#endif /* ACBOARD_BT_MANAGER_H_ */
```
